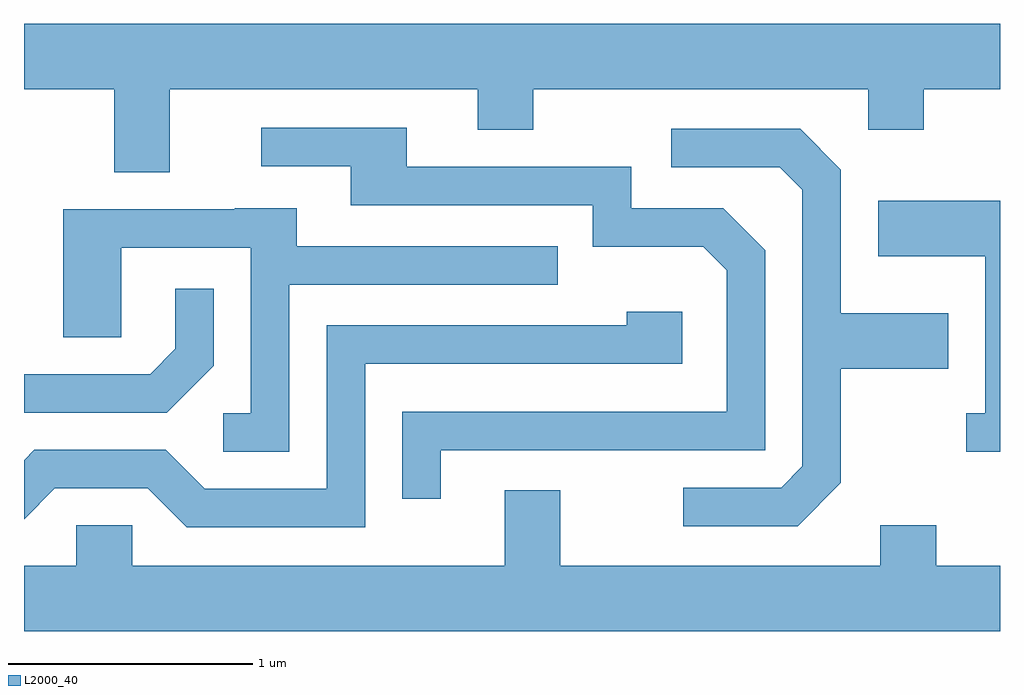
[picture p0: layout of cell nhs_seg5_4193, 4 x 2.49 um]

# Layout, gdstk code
import gdstk
lib = gdstk.Library(unit=1e-6, precision=1e-09)
def P(c, l, *ps):  # polygons
    for p in ps: c.add(gdstk.Polygon(p, *l))
L2000_40 = (2000, 40)

nhs_seg5_4193 = lib.new_cell('nhs_seg5_4193')
P(nhs_seg5_4193, L2000_40, [(310.209,1459.016),(311.471,1459.016),(311.471,1458.851),(311.699,1458.851),(311.699,1459.016),(313.071,1459.016),(313.071,1458.851),(313.299,1458.851),(313.299,1459.016),(313.611,1459.016),(313.611,1459.284),(309.611,1459.284),(309.611,1459.016),(309.981,1459.016),(309.981,1458.676),(310.209,1458.676)],
  [(311.319,1457.536),(312.649,1457.536),(312.649,1458.357),(312.477,1458.529),(312.099,1458.529),(312.099,1458.699),(311.179,1458.699),(311.179,1458.859),(310.583,1458.859),(310.583,1458.701),(310.951,1458.701),(310.951,1458.541),(311.941,1458.541),(311.941,1458.371),(312.394,1458.371),(312.491,1458.274),(312.491,1457.694),(311.161,1457.694),(311.161,1457.338),(311.319,1457.338)],
  [(312.959,1457.404),(312.959,1457.871),(313.399,1457.871),(313.399,1458.099),(312.959,1458.099),(312.959,1458.687),(312.792,1458.854),(312.263,1458.854),(312.263,1458.696),(312.709,1458.696),(312.801,1458.604),(312.801,1457.472),(312.714,1457.384),(312.313,1457.384),(312.313,1457.226),(312.782,1457.226)],
  [(313.611,1458.559),(313.111,1458.559),(313.111,1458.331),(313.551,1458.331),(313.551,1457.689),(313.473,1457.689),(313.473,1457.531),(313.611,1457.531)],
  [(310.699,1458.216),(311.798,1458.216),(311.798,1458.374),(310.729,1458.374),(310.729,1458.529),(310.475,1458.529),(310.475,1458.524),(309.771,1458.524),(309.771,1458.001),(310.009,1458.001),(310.009,1458.366),(310.541,1458.366),(310.541,1457.689),(310.428,1457.689),(310.428,1457.531),(310.699,1457.531)],
  [(310.389,1457.884),(310.389,1458.198),(310.231,1458.198),(310.231,1457.952),(310.129,1457.849),(309.611,1457.849),(309.611,1457.691),(310.197,1457.691)],
  [(311.009,1457.891),(312.309,1457.891),(312.309,1458.104),(312.081,1458.104),(312.081,1458.049),(310.851,1458.049),(310.851,1457.379),(310.352,1457.379),(310.192,1457.539),(309.654,1457.539),(309.611,1457.496),(309.611,1457.255),(309.737,1457.381),(310.119,1457.381),(310.279,1457.221),(311.009,1457.221)],
  [(313.611,1457.064),(313.349,1457.064),(313.349,1457.229),(313.121,1457.229),(313.121,1457.064),(311.809,1457.064),(311.809,1457.374),(311.581,1457.374),(311.581,1457.064),(310.054,1457.064),(310.054,1457.229),(309.826,1457.229),(309.826,1457.064),(309.611,1457.064),(309.611,1456.796),(313.611,1456.796)])

lib.write_gds('nhs_seg5_4193.gds')
